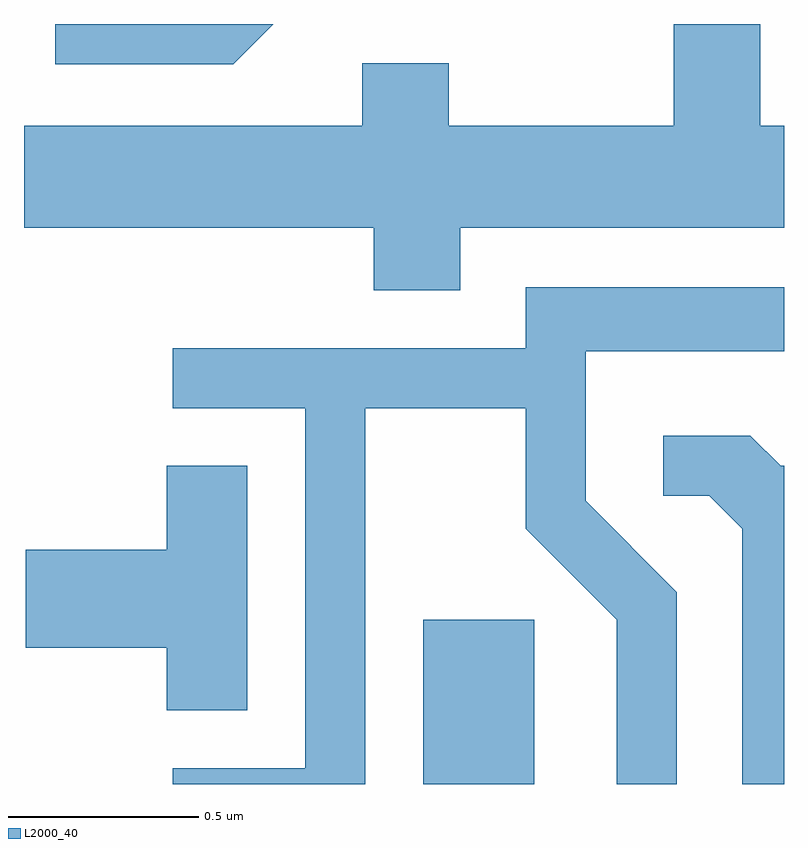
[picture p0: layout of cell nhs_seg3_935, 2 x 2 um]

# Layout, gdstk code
import gdstk
lib = gdstk.Library(unit=1e-6, precision=1e-09)
def R(c, l, rs):  # rectangles x0, y0, x1, y1
    for r in rs: c.add(gdstk.rectangle(r[:2], r[2:], *l))
def P(c, l, *ps):  # polygons
    for p in ps: c.add(gdstk.Polygon(p, *l))
L2000_40 = (2000, 40)

nhs_seg3_935 = lib.new_cell('nhs_seg3_935')
R(nhs_seg3_935, L2000_40, [(192.661,1228.892,192.954,1229.324)])
P(nhs_seg3_935, L2000_40, [(192.759,1230.356),(193.611,1230.356),(193.611,1230.624),(193.549,1230.624),(193.549,1230.892),(193.321,1230.892),(193.321,1230.624),(192.729,1230.624),(192.729,1230.789),(192.501,1230.789),(192.501,1230.624),(191.611,1230.624),(191.611,1230.356),(192.531,1230.356),(192.531,1230.191),(192.759,1230.191)],
  [(192.267,1230.892),(191.693,1230.892),(191.693,1230.786),(192.162,1230.786)],
  [(192.509,1229.881),(192.931,1229.881),(192.931,1229.564),(193.171,1229.324),(193.171,1228.892),(193.329,1228.892),(193.329,1229.397),(193.089,1229.637),(193.089,1230.031),(193.611,1230.031),(193.611,1230.199),(192.931,1230.199),(192.931,1230.039),(192.003,1230.039),(192.003,1229.881),(192.351,1229.881),(192.351,1228.934),(192.003,1228.934),(192.003,1228.892),(192.509,1228.892)],
  [(193.611,1229.729),(193.602,1229.729),(193.522,1229.809),(193.293,1229.809),(193.293,1229.651),(193.414,1229.651),(193.501,1229.564),(193.501,1228.892),(193.611,1228.892)],
  [(192.199,1229.729),(191.986,1229.729),(191.986,1229.509),(191.616,1229.509),(191.616,1229.251),(191.986,1229.251),(191.986,1229.086),(192.199,1229.086)])

lib.write_gds('nhs_seg3_935.gds')
